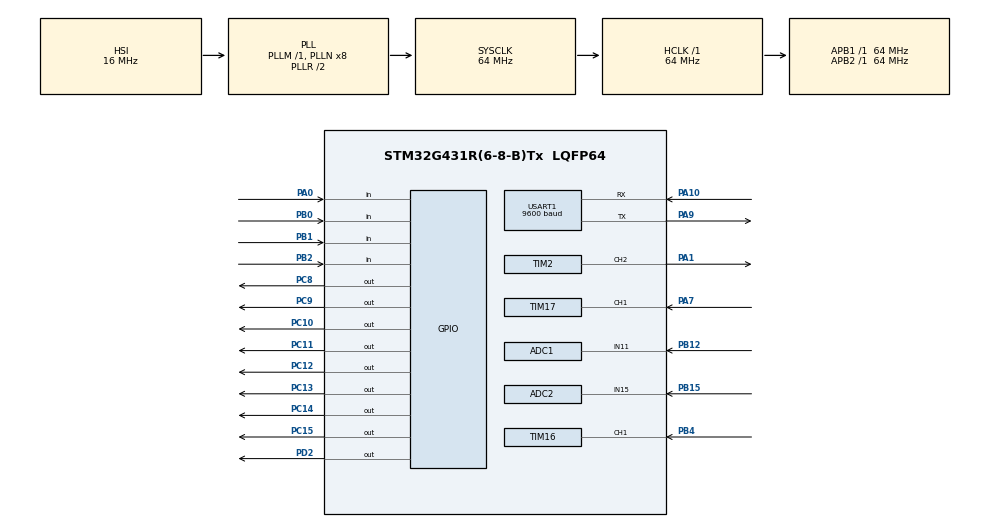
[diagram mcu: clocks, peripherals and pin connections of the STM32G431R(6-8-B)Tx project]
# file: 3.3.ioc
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ADC1.Channel-0\#ChannelRegularConversion=ADC_CHANNEL_11
ADC1.NbrOfConversionFlag=1
ADC1.OffsetNumber-0\#ChannelRegularConversion=ADC_OFFSET_NONE
ADC1.Rank-0\#ChannelRegularConversion=1
ADC1.SamplingTime-0\#ChannelRegularConversion=ADC_SAMPLETIME_2CYCLES_5
ADC1.master=1
ADC2.Channel-0\#ChannelRegularConversion=ADC_CHANNEL_15
ADC2.NbrOfConversionFlag=1
ADC2.OffsetNumber-0\#ChannelRegularConversion=ADC_OFFSET_NONE
ADC2.Rank-0\#ChannelRegularConversion=1
ADC2.SamplingTime-0\#ChannelRegularConversion=ADC_SAMPLETIME_2CYCLES_5
Mcu.Family=STM32G4
Mcu.Name=STM32G431R(6-8-B)Tx
Mcu.Package=LQFP64
NVIC.PriorityGroup=NVIC_PRIORITYGROUP_4
NVIC.TIM1_TRG_COM_TIM17_IRQn=true\:0\:0\:false\:false\:true\:true\:true\:true
NVIC.TIM1_UP_TIM16_IRQn=true\:0\:0\:false\:false\:true\:true\:true\:true
NVIC.TIM3_IRQn=true\:0\:0\:false\:false\:true\:true\:true\:true
NVIC.USART1_IRQn=true\:0\:0\:false\:false\:true\:true\:true\:true
PA0.GPIO_Mode=GPIO_MODE_INPUT
PA0.GPIO_PuPd=GPIO_PULLUP
PA0.Signal=GPIO_Input
PA1.Signal=S_TIM2_CH2
PA10.Mode=Asynchronous
PA10.Signal=USART1_RX
PA13.Mode=Serial_Wire
PA13.Signal=SYS_JTMS-SWDIO
PA14.Mode=Serial_Wire
PA14.Signal=SYS_JTCK-SWCLK
PA7.Signal=S_TIM17_CH1
PA9.Mode=Asynchronous
PA9.Signal=USART1_TX
PB0.GPIO_Mode=GPIO_MODE_INPUT
PB0.GPIO_PuPd=GPIO_PULLUP
PB0.Signal=GPIO_Input
PB1.GPIO_Mode=GPIO_MODE_INPUT
PB1.GPIO_PuPd=GPIO_PULLUP
PB1.Signal=GPIO_Input
PB12.Mode=IN11-Single-Ended
PB12.Signal=ADC1_IN11
PB15.Mode=IN15-Single-Ended
PB15.Signal=ADC2_IN15
PB2.GPIO_Mode=GPIO_MODE_INPUT
PB2.GPIO_PuPd=GPIO_PULLUP
PB2.Signal=GPIO_Input
PB4.Signal=S_TIM16_CH1
PC10.GPIO_ModeDefaultOutputPP=GPIO_MODE_OUTPUT_PP
PC10.PinState=GPIO_PIN_SET
PC10.Signal=GPIO_Output
PC11.GPIO_ModeDefaultOutputPP=GPIO_MODE_OUTPUT_PP
PC11.PinState=GPIO_PIN_SET
PC11.Signal=GPIO_Output
PC12.GPIO_ModeDefaultOutputPP=GPIO_MODE_OUTPUT_PP
PC12.PinState=GPIO_PIN_SET
PC12.Signal=GPIO_Output
PC13.GPIO_ModeDefaultOutputPP=GPIO_MODE_OUTPUT_PP
PC13.PinState=GPIO_PIN_SET
PC13.Signal=GPIO_Output
PC14-OSC32_IN.GPIO_ModeDefaultOutputPP=GPIO_MODE_OUTPUT_PP
PC14-OSC32_IN.PinState=GPIO_PIN_SET
PC14-OSC32_IN.Signal=GPIO_Output
PC15-OSC32_OUT.PinState=GPIO_PIN_SET
PC15-OSC32_OUT.Signal=GPIO_Output
PC8.GPIO_ModeDefaultOutputPP=GPIO_MODE_OUTPUT_PP
PC8.PinState=GPIO_PIN_SET
PC8.Signal=GPIO_Output
PC9.GPIO_ModeDefaultOutputPP=GPIO_MODE_OUTPUT_PP
PC9.PinState=GPIO_PIN_SET
PC9.Signal=GPIO_Output
PD2.GPIO_ModeDefaultOutputPP=GPIO_MODE_OUTPUT_PP
PD2.PinState=GPIO_PIN_SET
PD2.Signal=GPIO_Output
PF0-OSC_IN.Mode=HSE-External-Oscillator
PF0-OSC_IN.Signal=RCC_OSC_IN
PF1-OSC_OUT.Mode=HSE-External-Oscillator
PF1-OSC_OUT.Signal=RCC_OSC_OUT
ProjectManager.HeapSize=0x200
ProjectManager.StackSize=0x400
ProjectManager.TargetToolchain=MDK-ARM V5.32
RCC.ADC12Freq_Value=64000000
RCC.AHBFreq_Value=64000000
RCC.APB1Freq_Value=64000000
RCC.APB1TimFreq_Value=64000000
RCC.APB2Freq_Value=64000000
RCC.APB2TimFreq_Value=64000000
RCC.CortexFreq_Value=64000000
RCC.EXTERNAL_CLOCK_VALUE=12288000
RCC.HCLKFreq_Value=64000000
RCC.HSE_VALUE=24000000
RCC.HSI48_VALUE=48000000
RCC.HSI_VALUE=16000000
RCC.LSE_VALUE=32768
RCC.SYSCLKFreq_VALUE=64000000
RCC.SYSCLKSource=RCC_SYSCLKSOURCE_PLLCLK
RCC.USBFreq_Value=64000000
RCC.VCOOutputFreq_Value=128000000
SH.S_TIM16_CH1.0=TIM16_CH1,Input_Capture1_from_TI1
SH.S_TIM17_CH1.0=TIM17_CH1,Input_Capture1_from_TI1
SH.S_TIM2_CH2.0=TIM2_CH2,PWM Generation2 CH2
TIM16.Channel=TIM_CHANNEL_1
TIM16.Prescaler=80-1
TIM17.Channel=TIM_CHANNEL_1
TIM17.Prescaler=80-1
TIM2.Channel-PWM\ Generation2\ CH2=TIM_CHANNEL_2
TIM2.PeriodNoDither=100-1
TIM2.Prescaler=800-1
TIM3.PeriodNoDither=10000-1
TIM3.Prescaler=80-1
TIM4.Prescaler=8000-1
USART1.BaudRate=9600
USART1.VirtualMode-Asynchronous=VM_ASYNC
VP_SYS_VS_DBSignals.Mode=DisableDeadBatterySignals
VP_TIM16_VS_ClockSourceINT.Mode=Enable_Timer
VP_TIM17_VS_ClockSourceINT.Mode=Enable_Timer
VP_TIM3_VS_ClockSourceINT.Mode=Internal
VP_TIM4_VS_ClockSourceINT.Mode=Internal
board=custom

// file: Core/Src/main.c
/* USER CODE BEGIN Header */
/**
  ******************************************************************************
  * @file           : main.c
  * @brief          : Main program body
  ******************************************************************************
  * @attention
  *
  * Copyright (c) 2026 STMicroelectronics.
  * All rights reserved.
  *
  * This software is licensed under terms that can be found in the LICENSE file
  * in the root directory of this software component.
  * If no LICENSE file comes with this software, it is provided AS-IS.
  *
  ******************************************************************************
  */
/* USER CODE END Header */
#include "main.h"
#include "adc.h"
#include "tim.h"
#include "usart.h"
#include "gpio.h"

/* USER CODE BEGIN Includes */
#include "headfile.h"
/* USER CODE END Includes */

/* USER CODE BEGIN PV */

int16_t count1,count2;
uint8_t led2_state;

/* USER CODE END PV */

void SystemClock_Config(void);

int main(void)
{

  /* MCU Configuration--------------------------------------------------------*/

  /* Reset of all peripherals, Initializes the Flash interface and the Systick. */
  HAL_Init();

  /* Configure the system clock */
  SystemClock_Config();

  /* Initialize all configured peripherals */
  MX_GPIO_Init();
  MX_TIM3_Init();
  MX_TIM2_Init();
  MX_TIM17_Init();
  MX_TIM16_Init();
  MX_ADC1_Init();
  MX_ADC2_Init();
  MX_USART1_UART_Init();
  MX_TIM4_Init();
  /* USER CODE BEGIN 2 */
  HAL_GPIO_WritePin(GPIOD,GPIO_PIN_2,GPIO_PIN_RESET);

  LCD_Init();
  LCD_Clear(Black);
  LCD_SetBackColor(Black);
  LCD_SetTextColor(White);

  HAL_TIM_Base_Start_IT(&htim3);
  HAL_TIM_Base_Start_IT(&htim4);

  HAL_TIM_PWM_Start(&htim2,TIM_CHANNEL_2);
  TIM2->CCR2=50;

  HAL_TIM_IC_Start_IT(&htim17,TIM_CHANNEL_1);
  HAL_TIM_IC_Start_IT(&htim16,TIM_CHANNEL_1);

  HAL_UART_Receive_IT(&huart1,&rec_date,1);//相当于启动串口

  /* USER CODE END 2 */

  /* Infinite loop */
  /* USER CODE BEGIN WHILE */
  while (1)
  {
//	  char text01[20];
//	  sprintf(text01,"hello world\r\n");
//	  HAL_UART_Transmit(&huart1,(uint8_t *)text01,sizeof(text01),50);
//	  HAL_Delay(1000);//会阻塞
//
	  uart_date_rec();

	  show_led(1,1);
	  show_led(7,led7_state);
	  // 2. LCD 刷新：优先级低，不需要那么快
    static uint32_t lcd_tick = 0;
    if (HAL_GetTick() - lcd_tick > 500) // 每 100ms 刷新一次，人眼看着不闪，CPU 压力极小
    {
        lcd_tick = HAL_GetTick();
        show_lcd();
    }

//	  show_lcd();
	  if(key_short)
	  {
		switch(key_short)
		{
			case 1:
			{
				count1++;
			}break;

			case 2:
			{
				highlight_line=(highlight_line+1)%3;
			}break;

			case 3:
			{
				led2_state=(led2_state+1)%2;
				show_led(2,led2_state);
			}break;

			case 4:
			{
				count2++;
			}break;

		}key_short=0;
	  }

	  	  if(key_long)
	  {
		switch(key_long)
		{
			case 1:
			{
				count1--;
			}break;

			case 4:
			{
				count2--;
			}break;

		}key_long=0;
	  }

    /* USER CODE END WHILE */

  }
}

void SystemClock_Config(void)
{
  RCC_OscInitTypeDef RCC_OscInitStruct = {0};
  RCC_ClkInitTypeDef RCC_ClkInitStruct = {0};

  /** Configure the main internal regulator output voltage
  */
  HAL_PWREx_ControlVoltageScaling(PWR_REGULATOR_VOLTAGE_SCALE1);

  /** Initializes the RCC Oscillators according to the specified parameters
  * in the RCC_OscInitTypeDef structure.
  */
  RCC_OscInitStruct.OscillatorType = RCC_OSCILLATORTYPE_HSI;
  RCC_OscInitStruct.HSIState = RCC_HSI_ON;
  RCC_OscInitStruct.HSICalibrationValue = RCC_HSICALIBRATION_DEFAULT;
  RCC_OscInitStruct.PLL.PLLState = RCC_PLL_ON;
  RCC_OscInitStruct.PLL.PLLSource = RCC_PLLSOURCE_HSI;
  RCC_OscInitStruct.PLL.PLLM = RCC_PLLM_DIV1;
  RCC_OscInitStruct.PLL.PLLN = 8;
  RCC_OscInitStruct.PLL.PLLP = RCC_PLLP_DIV2;
  RCC_OscInitStruct.PLL.PLLQ = RCC_PLLQ_DIV2;
  RCC_OscInitStruct.PLL.PLLR = RCC_PLLR_DIV2;
  if (HAL_RCC_OscConfig(&RCC_OscInitStruct) != HAL_OK)
  {
    Error_Handler();
  }

  /** Initializes the CPU, AHB and APB buses clocks
  */
  RCC_ClkInitStruct.ClockType = RCC_CLOCKTYPE_HCLK|RCC_CLOCKTYPE_SYSCLK
                              |RCC_CLOCKTYPE_PCLK1|RCC_CLOCKTYPE_PCLK2;
  RCC_ClkInitStruct.SYSCLKSource = RCC_SYSCLKSOURCE_PLLCLK;
  RCC_ClkInitStruct.AHBCLKDivider = RCC_SYSCLK_DIV1;
  RCC_ClkInitStruct.APB1CLKDivider = RCC_HCLK_DIV1;
  RCC_ClkInitStruct.APB2CLKDivider = RCC_HCLK_DIV1;

  if (HAL_RCC_ClockConfig(&RCC_ClkInitStruct, FLASH_LATENCY_2) != HAL_OK)
  {
    Error_Handler();
  }
}

void Error_Handler(void)
{
  __disable_irq();
  while (1)
  {
  }
}
